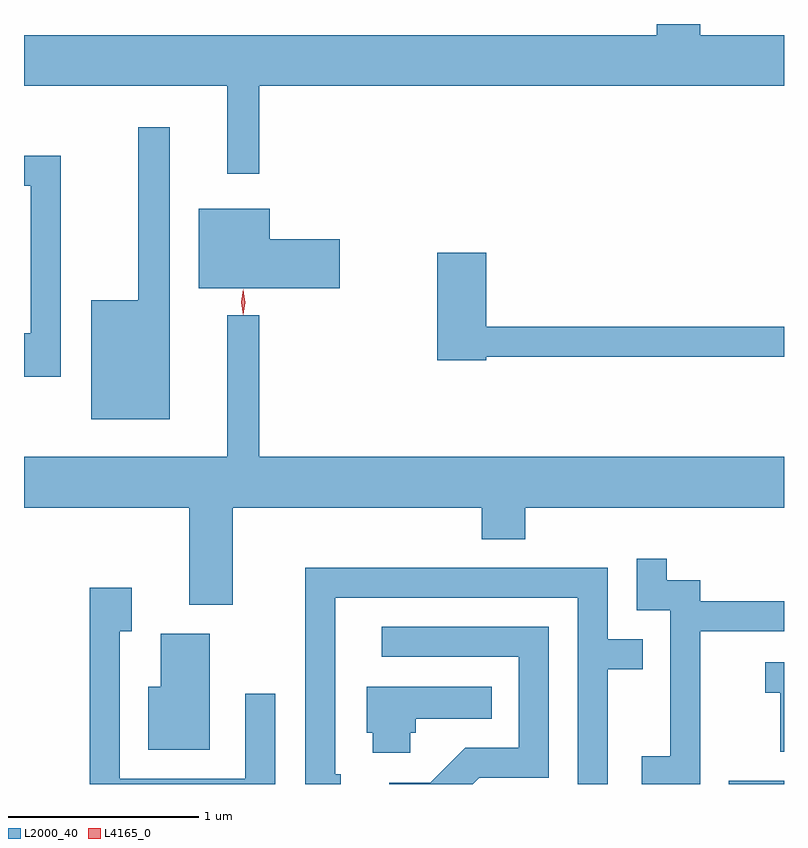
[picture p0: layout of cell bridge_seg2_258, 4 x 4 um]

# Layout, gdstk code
import gdstk
lib = gdstk.Library(unit=1e-6, precision=1e-09)
def R(c, l, rs):  # rectangles x0, y0, x1, y1
    for r in rs: c.add(gdstk.rectangle(r[:2], r[2:], *l))
def P(c, l, *ps):  # polygons
    for p in ps: c.add(gdstk.Polygon(p, *l))
L2000_40 = (2000, 40)
L4165_0 = (4165, 0)

bridge_seg2_258 = lib.new_cell('bridge_seg2_258')
R(bridge_seg2_258, L2000_40, [(488.751,1095.702,489.041,1095.719)])
P(bridge_seg2_258, L2000_40, [(486.279,1099.376),(489.041,1099.376),(489.041,1099.644),(488.599,1099.644),(488.599,1099.702),(488.371,1099.702),(488.371,1099.644),(485.041,1099.644),(485.041,1099.376),(486.111,1099.376),(486.111,1098.913),(486.279,1098.913)],
  [(485.809,1099.158),(485.641,1099.158),(485.641,1098.249),(485.396,1098.249),(485.396,1097.621),(485.809,1097.621)],
  [(485.234,1099.009),(485.041,1099.009),(485.041,1098.851),(485.076,1098.851),(485.076,1098.074),(485.041,1098.074),(485.041,1097.846),(485.234,1097.846)],
  [(486.704,1098.569),(486.334,1098.569),(486.334,1098.729),(485.961,1098.729),(485.961,1098.311),(486.704,1098.311)],
  [(487.474,1097.951),(489.041,1097.951),(489.041,1098.109),(487.474,1098.109),(487.474,1098.499),(487.216,1098.499),(487.216,1097.931),(487.474,1097.931)],
  [(486.139,1097.156),(487.451,1097.156),(487.451,1096.991),(487.679,1096.991),(487.679,1097.156),(489.041,1097.156),(489.041,1097.424),(486.279,1097.424),(486.279,1098.168),(486.111,1098.168),(486.111,1097.424),(485.041,1097.424),(485.041,1097.156),(485.911,1097.156),(485.911,1096.646),(486.139,1096.646)],
  [(488.599,1096.506),(489.041,1096.506),(489.041,1096.664),(488.599,1096.664),(488.599,1096.774),(488.424,1096.774),(488.424,1096.888),(488.266,1096.888),(488.266,1096.616),(488.441,1096.616),(488.441,1095.849),(488.291,1095.849),(488.291,1095.702),(488.599,1095.702)],
  [(486.709,1095.754),(486.679,1095.754),(486.679,1096.681),(487.956,1096.681),(487.956,1095.702),(488.114,1095.702),(488.114,1096.306),(488.298,1096.306),(488.298,1096.464),(488.114,1096.464),(488.114,1096.839),(486.521,1096.839),(486.521,1095.702),(486.709,1095.702)],
  [(486.364,1096.178),(486.206,1096.178),(486.206,1095.729),(485.544,1095.729),(485.544,1096.506),(485.609,1096.506),(485.609,1096.734),(485.386,1096.734),(485.386,1095.702),(486.364,1095.702)],
  [(487.437,1095.736),(487.804,1095.736),(487.804,1096.529),(486.923,1096.529),(486.923,1096.371),(487.646,1096.371),(487.646,1095.894),(487.364,1095.894),(487.179,1095.709),(486.963,1095.709),(486.963,1095.702),(487.403,1095.702)],
  [(486.019,1096.494),(485.761,1096.494),(485.761,1096.214),(485.696,1096.214),(485.696,1095.881),(486.019,1095.881)],
  [(489.041,1096.344),(488.943,1096.344),(488.943,1096.181),(489.021,1096.181),(489.021,1095.871),(489.041,1095.871)],
  [(487.074,1095.971),(487.104,1095.971),(487.104,1096.046),(487.503,1096.046),(487.503,1096.214),(486.846,1096.214),(486.846,1095.971),(486.876,1095.971),(486.876,1095.866),(487.074,1095.866)])
P(bridge_seg2_258, L4165_0, [(486.194,1098.17),(486.185,1098.238),(486.194,1098.305),(486.194,1098.306),(486.195,1098.305),(486.204,1098.238),(486.196,1098.17),(486.195,1098.17)],
  [(486.195,1098.173),(486.194,1098.174),(486.185,1098.236),(486.194,1098.3),(486.194,1098.3),(486.195,1098.3),(486.205,1098.236),(486.196,1098.174)])

lib.write_gds('bridge_seg2_258.gds')
